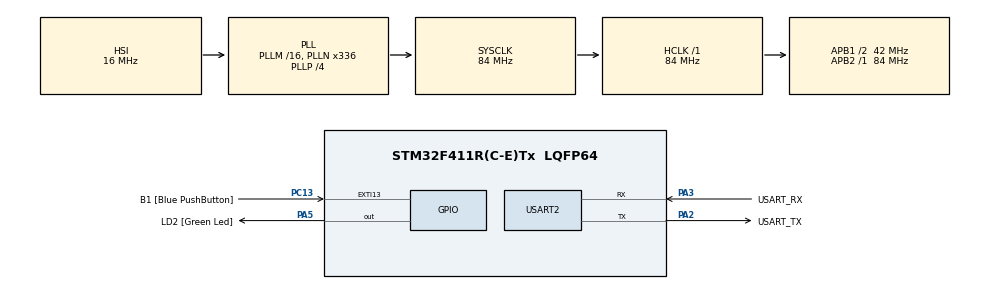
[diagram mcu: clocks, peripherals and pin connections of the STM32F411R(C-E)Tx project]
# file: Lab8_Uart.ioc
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Mcu.Family=STM32F4
PC15-OSC32_OUT.Mode=LSE-External-Oscillator
RCC.CortexFreq_Value=84000000
PC13-ANTI_TAMP.GPIO_Label=B1 [Blue PushButton]
PA14.GPIO_Label=TCK
PH1\ -\ OSC_OUT.Mode=HSE-External-Clock-Source
RCC.APB1CLKDivider=RCC_HCLK_DIV2
PC14-OSC32_IN.Signal=RCC_OSC32_IN
NVIC.USART2_IRQn=true\:0\:0\:false\:false\:true\:true\:true
RCC.SYSCLKSource=RCC_SYSCLKSOURCE_PLLCLK
ProjectManager.StackSize=0x400
PA13.Signal=SYS_JTMS-SWDIO
PA3.Mode=Asynchronous
PH0\ -\ OSC_IN.Mode=HSE-External-Clock-Source
PH0\ -\ OSC_IN.Signal=RCC_OSC_IN
ProjectManager.TargetToolchain=STM32CubeIDE
RCC.HCLKFreq_Value=84000000
RCC.APB2TimFreq_Value=84000000
PC15-OSC32_OUT.Signal=RCC_OSC32_OUT
RCC.AHBFreq_Value=84000000
PA5.Signal=GPIO_Output
RCC.HSE_VALUE=8000000
PH1\ -\ OSC_OUT.Signal=RCC_OSC_OUT
board=NUCLEO-F411RE
PC13-ANTI_TAMP.Signal=GPXTI13
RCC.VCOOutputFreq_Value=336000000
RCC.APB2Freq_Value=84000000
PC14-OSC32_IN.Mode=LSE-External-Oscillator
PA14.Mode=Serial_Wire
PA13.Mode=Serial_Wire
Mcu.Name=STM32F411R(C-E)Tx
PA2.Signal=USART2_TX
PA13.GPIO_Label=TMS
RCC.FLatency-AdvancedSettings=FLASH_LATENCY_2
RCC.48MHZClocksFreq_Value=84000000
PB3.Signal=SYS_JTDO-SWO
RCC.SYSCLKFreq_VALUE=84000000
Mcu.Package=LQFP64
PA5.GPIO_Label=LD2 [Green Led]
USART2.VirtualMode=VM_ASYNC
PC13-ANTI_TAMP.GPIO_ModeDefaultEXTI=GPIO_MODE_IT_FALLING
PA2.GPIO_Label=USART_TX
PA14.Signal=SYS_JTCK-SWCLK
ProjectManager.HeapSize=0x200
RCC.HSI_VALUE=16000000
RCC.PLLP=RCC_PLLP_DIV4
NVIC.PriorityGroup=NVIC_PRIORITYGROUP_0
RCC.PLLN=336
RCC.APB1TimFreq_Value=84000000
PA2.Mode=Asynchronous
RCC.APB1Freq_Value=42000000
PA3.GPIO_Label=USART_RX
PA3.Signal=USART2_RX
PB3.GPIO_Label=SWO

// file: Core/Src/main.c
/* USER CODE BEGIN Header */
/**
 ******************************************************************************
 * @file           : main.c
 * @brief          : Main program body
 ******************************************************************************
 * @attention
 *
 * <h2><center>&copy; Copyright (c) 2021 STMicroelectronics.
 * All rights reserved.</center></h2>
 *
 * This software component is licensed by ST under BSD 3-Clause license,
 * the "License"; You may not use this file except in compliance with the
 * License. You may obtain a copy of the License at:
 *                        opensource.org/licenses/BSD-3-Clause
 *
 ******************************************************************************
 */
/* USER CODE END Header */
#include "main.h"

/* USER CODE BEGIN Includes */
#include <stdio.h>
#include <string.h>
/* USER CODE END Includes */

UART_HandleTypeDef huart2;

/* USER CODE BEGIN PV */
typedef enum{
	State_Start=0,State_menu,State_serect,State_LED,State_BUTTON,
};
char TxDataBuffer[32] ={ 0 };
char RxDataBuffer[32] ={ 0 };
char ShowFrequency[32]={ 0 };
uint16_t State=0;
uint32_t f_LED=0;
int frequency=1;
float T=0;
uint32_t timestamp=0;
uint32_t Buttontimestamp=0;
uint16_t LED=1;
GPIO_PinState BlueButton[2];
uint16_t CheckClick=0;
/* USER CODE END PV */

void SystemClock_Config(void);
static void MX_GPIO_Init(void);
static void MX_USART2_UART_Init(void);
/* USER CODE BEGIN PFP */
void UARTRecieveAndResponsePolling();
int16_t UARTRecieveIT();
/* USER CODE END PFP */

int main(void)
{

  /* MCU Configuration--------------------------------------------------------*/

  /* Reset of all peripherals, Initializes the Flash interface and the Systick. */
  HAL_Init();

  /* Configure the system clock */
  SystemClock_Config();

  /* Initialize all configured peripherals */
  MX_GPIO_Init();
  MX_USART2_UART_Init();
  /* USER CODE BEGIN 2 */
  {
  char temp[]="HELLO WORLD\r\n please type something to test UART\r\n";
  HAL_UART_Transmit(&huart2, (uint8_t*)temp, strlen(temp),10);
  }
  /* USER CODE END 2 */

  /* Infinite loop */
  /* USER CODE BEGIN WHILE */
	while (1)
	{

		/*Method 1 Polling Mode*/

//		UARTRecieveAndResponsePolling();

		/*Method 2 Interrupt Mode*/
		HAL_UART_Receive_IT(&huart2,  (uint8_t*)RxDataBuffer, 32);

		/*Method 2 W/ 1 Char Received*/
		int16_t inputchar = UARTRecieveIT();
		if(inputchar!=-1)
		{
			switch(State)
			{
			case State_Start:
				State=State_menu;
				break;
			case State_menu:
			{
				char temp[]="******************\r\n*******MENU*******\r\n";
				HAL_UART_Transmit(&huart2, (uint8_t*)temp, strlen(temp),10);
			}
			{
				char temp[]="Pls press right\r\n";
				HAL_UART_Transmit(&huart2, (uint8_t*)temp, strlen(temp),10);
			}
			{
				char temp[]="Press 0 : LED Control\r\n";
				HAL_UART_Transmit(&huart2, (uint8_t*)temp, strlen(temp),10);
			}
			{
				char temp[]="Press 1 : Button Status\r\n";
				HAL_UART_Transmit(&huart2, (uint8_t*)temp, strlen(temp),10);
			}
			{
				char temp[]="******************\r\n";
				HAL_UART_Transmit(&huart2, (uint8_t*)temp, strlen(temp),10);
			}
				State=State_serect;
			break;
			case State_serect:
				switch(inputchar)
				{
					case '0' :
					{
						char temp[]="******************\r\n*****LED_MENU*****\r\n";
						HAL_UART_Transmit(&huart2, (uint8_t*)temp, strlen(temp),10);
					}
					{
						char temp[]="Pls press right\r\n";
						HAL_UART_Transmit(&huart2, (uint8_t*)temp, strlen(temp),10);
					}
					{
						char temp[]="Press a : Frequency+1\r\n";
						HAL_UART_Transmit(&huart2, (uint8_t*)temp, strlen(temp),10);
					}
					{
						char temp[]="Press s : Frequency-1\r\n";
						HAL_UART_Transmit(&huart2, (uint8_t*)temp, strlen(temp),10);
					}
					{
						char temp[]="Press d : LED ON/OFF\r\n";
						HAL_UART_Transmit(&huart2, (uint8_t*)temp, strlen(temp),10);
					}
					{
						char temp[]="Press x : Back to Menu \r\n";
						HAL_UART_Transmit(&huart2, (uint8_t*)temp, strlen(temp),10);
					}
					{
						char temp[]="******************\r\n";
						HAL_UART_Transmit(&huart2, (uint8_t*)temp, strlen(temp),10);
					}

						State=State_LED;
						break;
					case '1':
					{
						char temp[]="Press x : Back to Menu \r\n";
						HAL_UART_Transmit(&huart2, (uint8_t*)temp, strlen(temp),10);
					}
					{
						char temp[]="Press BlueButton : Show Button Status\r\n";
						HAL_UART_Transmit(&huart2, (uint8_t*)temp, strlen(temp),10);
					}

						State=State_BUTTON;
						break;
					default:
					{
						char temp[]="Wrong press again\r\n";
						HAL_UART_Transmit(&huart2, (uint8_t*)temp, strlen(temp),10);
					}
				}break;
			case State_LED:
				switch(inputchar)
				{
					case 'a':
						//+1
						frequency+=1;
						sprintf(ShowFrequency, "Frequency = %d Hz\r\n",frequency);
						HAL_UART_Transmit(&huart2, (uint8_t*)ShowFrequency, strlen(ShowFrequency),1000);
						State=State_LED;
						break;
					case 's':
						//-1
						frequency-=1;
						sprintf(ShowFrequency, "Frequency = %d Hz\r\n",frequency);
						HAL_UART_Transmit(&huart2, (uint8_t*)ShowFrequency, strlen(ShowFrequency),1000);
						State=State_LED;
						break;
					case 'd':
						//On/off
						if(HAL_GPIO_ReadPin(LD2_GPIO_Port, LD2_Pin) == GPIO_PIN_SET)
						{
							LED=0;
							HAL_GPIO_WritePin(LD2_GPIO_Port, LD2_Pin, GPIO_PIN_RESET);
							{
								char temp[]="LED OFF\r\n";
								HAL_UART_Transmit(&huart2, (uint8_t*)temp, strlen(temp),10);
							}
							State=State_LED;
						}
						else
						{
							HAL_GPIO_WritePin(LD2_GPIO_Port, LD2_Pin, GPIO_PIN_SET);
							{
								LED=1;
							char temp[]="LED ON\r\n";
							HAL_UART_Transmit(&huart2, (uint8_t*)temp, strlen(temp),10);
							}
							State=State_LED;
						}break;
					case 'x':
						//back
						{char temp[]="BACK TO MENU\r\n";
						HAL_UART_Transmit(&huart2, (uint8_t*)temp, strlen(temp),10);}
						State=State_menu;
						break;
					default:
					{
						char temp[]="Wrong press again\r\n";
						HAL_UART_Transmit(&huart2, (uint8_t*)temp, strlen(temp),10);
					}
					State=State_LED;

				}break;
			case State_BUTTON:
				CheckClick=1;
				switch(inputchar){
				case 'x':
					{char temp[]="BACK TO MENU\r\n";
					HAL_UART_Transmit(&huart2, (uint8_t*)temp, strlen(temp),10);}
					CheckClick=0;
					State=State_menu;
					break;
				default:
					{
						char temp[]="Wrong Pls press again\r\n";
						HAL_UART_Transmit(&huart2, (uint8_t*)temp, strlen(temp),10);
					}
					State=State_BUTTON;
				}break;

		}

    /* USER CODE END WHILE */

}
	if(State_LED){
	if(LED=1){
	T=frequency*1000;
	f_LED=T/2;
	if(HAL_GetTick()-timestamp> f_LED)
	{
		timestamp=HAL_GetTick();
		HAL_GPIO_TogglePin(LD2_GPIO_Port,LD2_Pin);
	}
	}
	}
if(State==State_BUTTON){
	if(HAL_GetTick()-Buttontimestamp>=100){
		Buttontimestamp=HAL_GetTick();
		BlueButton[0]=HAL_GPIO_ReadPin(GPIOC, GPIO_PIN_13);
		if(BlueButton[1]==GPIO_PIN_SET&&BlueButton[0]==GPIO_PIN_RESET)
		{
			{
			char temp[]="If Button press\r\n";
			HAL_UART_Transmit(&huart2, (uint8_t*)temp, strlen(temp),10);
			}
			CheckClick=1;
		}
		if(CheckClick)
		if(BlueButton[1]==GPIO_PIN_RESET&&BlueButton[0]==GPIO_PIN_SET)
		{
			{
			char temp[]=" unpress\r\n";
			HAL_UART_Transmit(&huart2, (uint8_t*)temp, strlen(temp),10);
			}
		}
		BlueButton[1]=BlueButton[0];

	}
}

	}
}

void SystemClock_Config(void)
{
  RCC_OscInitTypeDef RCC_OscInitStruct = {0};
  RCC_ClkInitTypeDef RCC_ClkInitStruct = {0};

  /** Configure the main internal regulator output voltage
  */
  __HAL_RCC_PWR_CLK_ENABLE();
  __HAL_PWR_VOLTAGESCALING_CONFIG(PWR_REGULATOR_VOLTAGE_SCALE1);
  /** Initializes the RCC Oscillators according to the specified parameters
  * in the RCC_OscInitTypeDef structure.
  */
  RCC_OscInitStruct.OscillatorType = RCC_OSCILLATORTYPE_HSI;
  RCC_OscInitStruct.HSIState = RCC_HSI_ON;
  RCC_OscInitStruct.HSICalibrationValue = RCC_HSICALIBRATION_DEFAULT;
  RCC_OscInitStruct.PLL.PLLState = RCC_PLL_ON;
  RCC_OscInitStruct.PLL.PLLSource = RCC_PLLSOURCE_HSI;
  RCC_OscInitStruct.PLL.PLLM = 16;
  RCC_OscInitStruct.PLL.PLLN = 336;
  RCC_OscInitStruct.PLL.PLLP = RCC_PLLP_DIV4;
  RCC_OscInitStruct.PLL.PLLQ = 4;
  if (HAL_RCC_OscConfig(&RCC_OscInitStruct) != HAL_OK)
  {
    Error_Handler();
  }
  /** Initializes the CPU, AHB and APB buses clocks
  */
  RCC_ClkInitStruct.ClockType = RCC_CLOCKTYPE_HCLK|RCC_CLOCKTYPE_SYSCLK
                              |RCC_CLOCKTYPE_PCLK1|RCC_CLOCKTYPE_PCLK2;
  RCC_ClkInitStruct.SYSCLKSource = RCC_SYSCLKSOURCE_PLLCLK;
  RCC_ClkInitStruct.AHBCLKDivider = RCC_SYSCLK_DIV1;
  RCC_ClkInitStruct.APB1CLKDivider = RCC_HCLK_DIV2;
  RCC_ClkInitStruct.APB2CLKDivider = RCC_HCLK_DIV1;

  if (HAL_RCC_ClockConfig(&RCC_ClkInitStruct, FLASH_LATENCY_2) != HAL_OK)
  {
    Error_Handler();
  }
}

static void MX_USART2_UART_Init(void)
{

  huart2.Instance = USART2;
  huart2.Init.BaudRate = 115200;
  huart2.Init.WordLength = UART_WORDLENGTH_8B;
  huart2.Init.StopBits = UART_STOPBITS_1;
  huart2.Init.Parity = UART_PARITY_NONE;
  huart2.Init.Mode = UART_MODE_TX_RX;
  huart2.Init.HwFlowCtl = UART_HWCONTROL_NONE;
  huart2.Init.OverSampling = UART_OVERSAMPLING_16;
  if (HAL_UART_Init(&huart2) != HAL_OK)
  {
    Error_Handler();
  }

}

static void MX_GPIO_Init(void)
{
  GPIO_InitTypeDef GPIO_InitStruct = {0};

  /* GPIO Ports Clock Enable */
  __HAL_RCC_GPIOC_CLK_ENABLE();
  __HAL_RCC_GPIOH_CLK_ENABLE();
  __HAL_RCC_GPIOA_CLK_ENABLE();
  __HAL_RCC_GPIOB_CLK_ENABLE();

  /*Configure GPIO pin Output Level */
  HAL_GPIO_WritePin(LD2_GPIO_Port, LD2_Pin, GPIO_PIN_RESET);

  /*Configure GPIO pin : B1_Pin */
  GPIO_InitStruct.Pin = B1_Pin;
  GPIO_InitStruct.Mode = GPIO_MODE_IT_FALLING;
  GPIO_InitStruct.Pull = GPIO_NOPULL;
  HAL_GPIO_Init(B1_GPIO_Port, &GPIO_InitStruct);

  /*Configure GPIO pin : LD2_Pin */
  GPIO_InitStruct.Pin = LD2_Pin;
  GPIO_InitStruct.Mode = GPIO_MODE_OUTPUT_PP;
  GPIO_InitStruct.Pull = GPIO_NOPULL;
  GPIO_InitStruct.Speed = GPIO_SPEED_FREQ_LOW;
  HAL_GPIO_Init(LD2_GPIO_Port, &GPIO_InitStruct);

}

/* USER CODE BEGIN 4 */

//void UARTRecieveAndResponsePolling()
//{
//	char Recieve[32]={0};
//
//	HAL_UART_Receive(&huart2, (uint8_t*)Recieve, 32, 1000);
//
//	sprintf(TxDataBuffer, "Received:[%s]\r\n", Recieve);
//	HAL_UART_Transmit(&huart2, (uint8_t*)TxDataBuffer, strlen(TxDataBuffer), 1000);
//
//}

int16_t UARTRecieveIT()
{
	static uint32_t dataPos =0;
	int16_t data=-1;
	if(huart2.RxXferSize - huart2.RxXferCount!=dataPos)
	{
		data=RxDataBuffer[dataPos];
		dataPos= (dataPos+1)%huart2.RxXferSize;
	}
	return data;
}

void HAL_UART_RxCpltCallback(UART_HandleTypeDef *huart)
{
	sprintf(TxDataBuffer, "Received:[%s]\r\n", RxDataBuffer);
	HAL_UART_Transmit(&huart2, (uint8_t*)TxDataBuffer, strlen(TxDataBuffer), 1000);
}
/* USER CODE END 4 */

void Error_Handler(void)
{
	__disable_irq();
	while (1)
	{
	}
}

/************************ (C) COPYRIGHT STMicroelectronics *****END OF FILE****/
